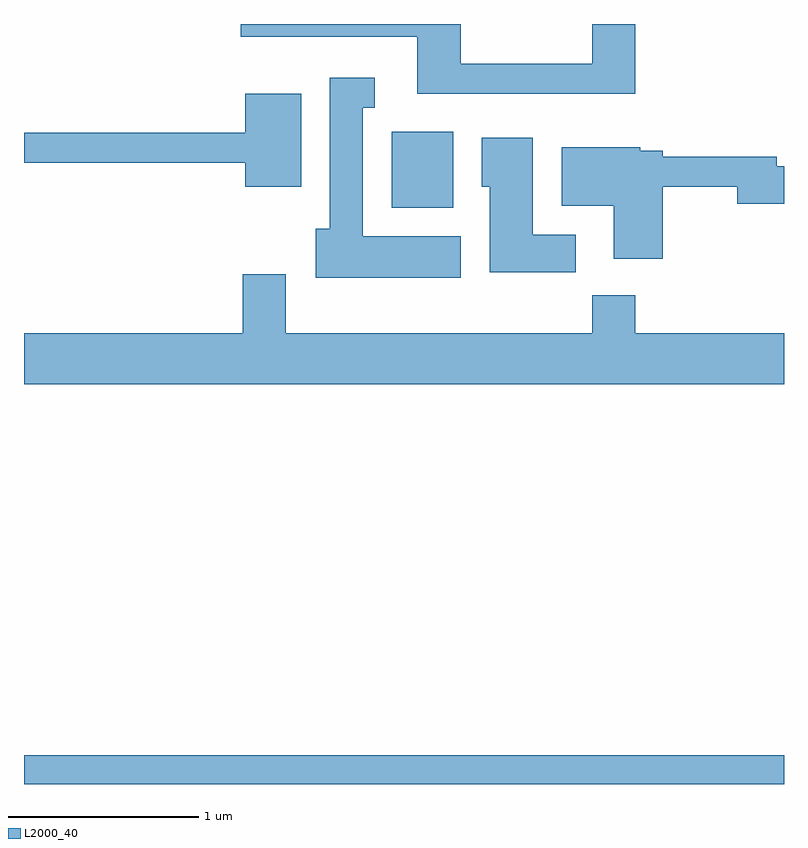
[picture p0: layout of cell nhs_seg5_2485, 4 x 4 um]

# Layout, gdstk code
import gdstk
lib = gdstk.Library(unit=1e-6, precision=1e-09)
def R(c, l, rs):  # rectangles x0, y0, x1, y1
    for r in rs: c.add(gdstk.rectangle(r[:2], r[2:], *l))
def P(c, l, *ps):  # polygons
    for p in ps: c.add(gdstk.Polygon(p, *l))
L2000_40 = (2000, 40)

nhs_seg5_2485 = lib.new_cell('nhs_seg5_2485')
R(nhs_seg5_2485, L2000_40, [(259.611,1408.072,263.611,1408.224), (261.546,1411.106,261.869,1411.504)])
P(nhs_seg5_2485, L2000_40, [(262.829,1412.072),(262.601,1412.072),(262.601,1411.864),(261.909,1411.864),(261.909,1412.072),(260.753,1412.072),(260.753,1412.006),(261.681,1412.006),(261.681,1411.706),(262.829,1411.706)],
  [(261.909,1410.954),(261.394,1410.954),(261.394,1411.631),(261.457,1411.631),(261.457,1411.789),(261.221,1411.789),(261.221,1410.994),(261.146,1410.994),(261.146,1410.736),(261.909,1410.736)],
  [(261.069,1411.704),(260.776,1411.704),(260.776,1411.499),(259.611,1411.499),(259.611,1411.341),(260.776,1411.341),(260.776,1411.216),(261.069,1411.216)],
  [(262.514,1410.964),(262.289,1410.964),(262.289,1411.474),(262.021,1411.474),(262.021,1411.216),(262.061,1411.216),(262.061,1410.766),(262.514,1410.766)],
  [(262.974,1411.216),(263.366,1411.216),(263.366,1411.126),(263.611,1411.126),(263.611,1411.324),(263.574,1411.324),(263.574,1411.374),(262.974,1411.374),(262.974,1411.404),(262.854,1411.404),(262.854,1411.424),(262.441,1411.424),(262.441,1411.116),(262.716,1411.116),(262.716,1410.836),(262.974,1410.836)],
  [(263.611,1410.444),(262.829,1410.444),(262.829,1410.644),(262.601,1410.644),(262.601,1410.444),(260.989,1410.444),(260.989,1410.754),(260.761,1410.754),(260.761,1410.444),(259.611,1410.444),(259.611,1410.176),(263.611,1410.176)])

lib.write_gds('nhs_seg5_2485.gds')
